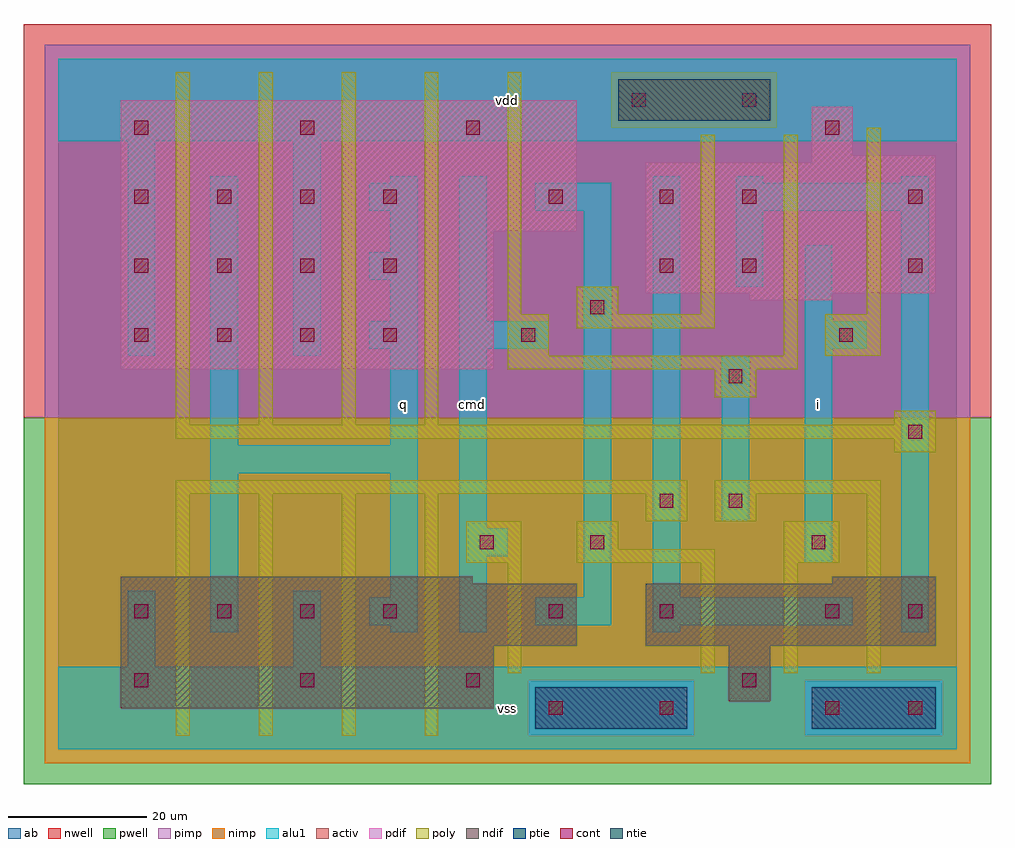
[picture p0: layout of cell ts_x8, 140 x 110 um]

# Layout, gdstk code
import gdstk
lib = gdstk.Library(unit=1e-6, precision=1e-09)
def R(c, l, rs):  # rectangles x0, y0, x1, y1
    for r in rs: c.add(gdstk.rectangle(r[:2], r[2:], *l))
def A(c, l, x, y, w, h, nx, ny, dx, dy):  # array of equal rectangles
    R(c, l, [(x+i*dx, y+j*dy, x+i*dx+w, y+j*dy+h) for i in range(nx) for j in range(ny)])
ndif = (3, 0)
pdif = (4, 0)
ntie = (5, 0)
ptie = (6, 0)
cont = (25, 0)
pwell = (41, 0)
nwell = (42, 0)
activ = (43, 0)
pimp = (44, 0)
nimp = (45, 0)
poly = (46, 0)
alu1 = (49, 0)
ab = (63, 0)

ts_x8 = lib.new_cell('ts_x8')
R(ts_x8, ndif, [(9,6,63,15), (97,7,103,15), (9,15,75,24), (85,15,127,24), (9,24,60,25), (112,24,127,25)])
R(ts_x8, pdif, [(9,55,63,75), (100,65,112,66), (85,66,127,85), (9,75,75,94), (109,85,127,86), (109,86,115,93)])
R(ts_x8, ntie, [(81,91,103,97)])
R(ts_x8, ptie, [(69,3,91,9), (109,3,127,9)])
A(ts_x8, cont, 11, 9, 2, 2, 3, 2, 24, 80)
A(ts_x8, cont, 11, 19, 2, 2, 4, 2, 12, 40)
A(ts_x8, cont, 11, 69, 2, 2, 4, 2, 12, 10)
R(ts_x8, cont, [(71,5,73,7), (87,5,89,7), (111,5,113,7), (123,5,125,7), (99,9,101,11), (71,19,73,21), (87,19,89,21), (111,19,113,21), (123,19,125,21), (61,29,63,31), (77,29,79,31), (109,29,111,31), (87,35,89,37), (97,35,99,37), (123,45,125,47), (97,53,99,55), (67,59,69,61), (113,59,115,61), (77,63,79,65), (87,69,89,71), (99,69,101,71), (123,69,125,71), (71,79,73,81), (87,79,89,81), (99,79,101,81), (123,79,125,81), (111,89,113,91), (83,93,85,95), (99,93,101,95)])
R(ts_x8, pwell, [(-5,-5,135,48)])
R(ts_x8, nwell, [(-5,48,135,105)])
R(ts_x8, activ, [(69,3,91,9), (109,3,127,9), (9,6,63,15), (97,7,103,15), (9,15,75,24), (85,15,127,24), (9,24,60,25), (112,24,127,25), (9,55,63,75), (100,65,112,66), (85,66,127,85), (9,75,75,94), (109,85,127,86), (109,86,115,93), (81,91,103,97)])
R(ts_x8, pimp, [(68,2,92,10), (108,2,128,10), (-2,48,132,90), (-2,90,80,98), (104,90,132,98), (-2,98,132,102)])
R(ts_x8, nimp, [(-2,-2,132,2), (-2,2,68,10), (92,2,108,10), (128,2,132,10), (-2,10,132,48), (80,90,104,98)])
A(ts_x8, poly, 17, 2, 2, 35, 4, 1, 12, 0)
A(ts_x8, poly, 17, 47, 2, 51, 4, 1, 12, 0)
R(ts_x8, poly, [(65,11,67,27), (93,11,95,27), (105,11,107,27), (117,11,119,37), (59,27,67,33), (75,27,95,29), (105,27,113,33), (75,29,81,33), (85,33,91,37), (95,33,101,37), (17,37,91,39), (95,37,119,39), (121,43,127,45), (17,45,127,47), (121,47,127,49), (95,51,101,55), (65,55,107,57), (65,57,71,63), (105,57,107,89), (111,57,119,63), (75,61,95,63), (65,63,67,98), (75,63,81,67), (93,63,95,89), (117,63,119,90)])
A(ts_x8, alu1, 45, 58, 7, 4, 1, 3, 0, 10)
R(ts_x8, alu1, [(0,0,130,12), (10,12,14,23), (34,12,38,23), (22,17,26,40), (48,17,52,18), (58,17,62,28), (86,17,90,18), (122,17,126,78), (45,18,52,22), (69,18,80,22), (86,18,115,22), (48,22,52,40), (76,22,80,78), (86,22,90,83), (108,27,112,58), (58,28,65,32), (58,32,62,58), (96,33,100,57), (22,40,52,44), (22,44,26,83), (48,44,52,58), (10,57,14,88), (34,57,38,88), (58,58,71,62), (108,58,117,62), (48,62,52,68), (58,62,62,83), (108,62,112,73), (98,67,102,78), (48,72,52,78), (69,78,80,82), (98,78,126,82), (48,82,52,83), (98,82,102,83), (122,82,126,83), (0,88,130,100)])
R(ts_x8, ab, [(0,0,130,100)])
ts_x8.add(gdstk.Label('q', (50,50), layer=49, texttype=0))
ts_x8.add(gdstk.Label('cmd', (60,50), layer=49, texttype=0))
ts_x8.add(gdstk.Label('vss', (65,6), layer=49, texttype=0))
ts_x8.add(gdstk.Label('vdd', (65,94), layer=49, texttype=0))
ts_x8.add(gdstk.Label('i', (110,50), layer=49, texttype=0))

lib.write_gds('ts_x8.gds')
